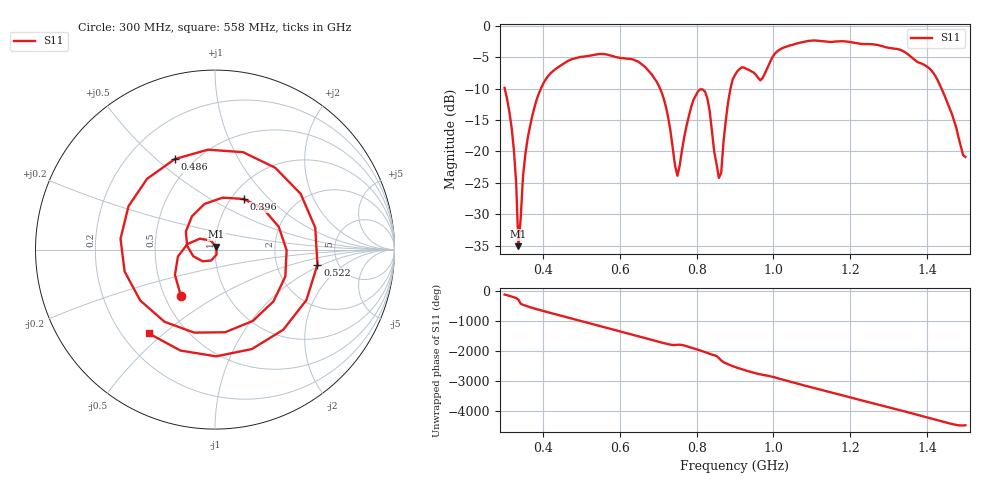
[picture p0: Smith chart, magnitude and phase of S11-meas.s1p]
#  HZ  S  DB  R  50.0
! Rohde & Schwarz ZVL
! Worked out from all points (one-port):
!   201 points, 300 MHz to 1.5 GHz, reference 50 ohm
!   lowest |S11| = -35.1 dB at 336 MHz (marker M1), VSWR 1.04, Z = 50.8 + j1.59 ohm
!   |S11| at or under -10 dB: 300.3 MHz to 394.6 MHz (94.22 MHz wide, 27.1 % of centre); 704.7 MHz to 888.3 MHz (183.6 MHz wide, 23.1 % of centre); 1.438 GHz to end of sweep
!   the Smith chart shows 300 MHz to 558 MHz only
!   S11 on the Smith chart (normalised r, x): 300 MHz: 0.61, -0.35; 396 MHz: 1.14, +0.72; 486 MHz: 0.40, +0.58; 522 MHz: 3.49, -0.88; 558 MHz: 0.31, -0.45
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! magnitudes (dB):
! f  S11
! 300 MHz  -9.9
! 324 MHz  -19.7
! 330 MHz  -24.9
! 336 MHz  -35.1
! 348 MHz  -23.9
! 360 MHz  -17.9
! 396 MHz  -9.8
! 450 MHz  -6.2
! 486 MHz  -5.2
! 522 MHz  -4.8
! 558 MHz  -4.5
! 600 MHz  -5.1
! 702 MHz  -9.6
! 726 MHz  -14.6
! 750 MHz  -23.9
! 786 MHz  -12.9
! 810 MHz  -10.1
! 828 MHz  -11.6
! 858 MHz  -24.2
! 864 MHz  -23.4
! 882 MHz  -12.2
! 900 MHz  -7.8
! 966 MHz  -8.7
! 1.05 GHz  -3.0
! 1.2 GHz  -2.6
! 1.35 GHz  -4.5
! 1.422 GHz  -8.0
! 1.5 GHz  -20.9
